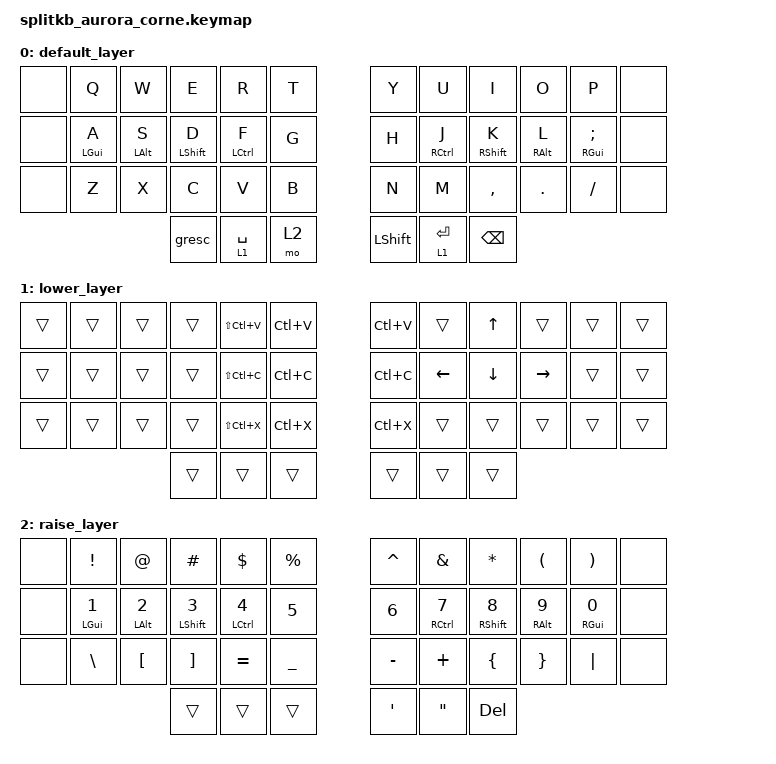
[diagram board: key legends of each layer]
/*
 * Copyright (c) 2020 The ZMK Contributors
 *
 * SPDX-License-Identifier: MIT
 */

#include <behaviors.dtsi>
#include <dt-bindings/zmk/behaviors.h>
#include <dt-bindings/zmk/keys.h>
#include <dt-bindings/zmk/bt.h>

/ {
        behaviors {
                hml: home_row_mod_left {
                    compatible = "zmk,behavior-hold-tap";
                    #binding-cells = <2>;
                    flavor = "balanced";
                    require-prior-idle-ms = <150>;
                    tapping-term-ms = <280>;
                    quick-tap-ms = <175>;
                    bindings = <&kp>, <&kp>;
                    hold-trigger-key-positions = <6 7 8 9 10 18 19 20 21 22 30 31 32 33 34>; // List of keys on the right side of the keyboard
                    hold-trigger-on-release;
                };
                hmr: home_row_mod_right {
                    compatible = "zmk,behavior-hold-tap";
                    #binding-cells = <2>;
                    flavor = "balanced";
                    require-prior-idle-ms = <150>;
                    tapping-term-ms = <280>;
                    quick-tap-ms = <175>;
                    bindings = <&kp>, <&kp>;
                    hold-trigger-key-positions = <1 2 3 4 5 13 14 15 16 17 25 26 27 28 29>; // List of keys on the left side of the keyboard
                    hold-trigger-on-release;
                };
                lt: layer_tap {
                    compatible = "zmk,behavior-hold-tap";
                    #binding-cells = <2>;
                    flavor = "tap-preferred";
                    tapping-term-ms = <200>;
                    bindings = <&mo>, <&kp>;
                    display-name = "Layer-Tap";
                };
        };

        combos {
                compatible = "zmk,combos";
                combo_tab {
                        timeout-ms = <50>;
                        key-positions = <1 2>;
                        bindings = <&kp TAB>;
                };
                combo_tilde {
                        timeout-ms = <50>;
                        key-positions = <33 34>;
                        bindings = <&kp TILDE>;
                };
                combo_apostrophe {
                        timeout-ms = <50>;
                        key-positions = <21 22>;
                        bindings = <&kp SQT>;
                };
        };

        keymap {
                compatible = "zmk,keymap";
// -------------------------------- DEFAULT LAYER --------------------------------------------
                default_layer {
// |-----|  Q-TAB-W  |  E  |  R  |  T  |   |  Y  |  U  |  I  |  O  |  P  |-----|
// |-----| G(A)| A(S)| S(D)| C(F)|  G  |   |  H  | C(J)| S(K)| A(L)| G(;)|-----|
// |-----|  Z  |  X  |  C  |  V  |  B  |   |  N  |  M  |  ,  |  .  ~  /  |-----|
//                   |GRESC|L SPC| RSE |   |SHIFT|L RET| BSPC|
                        bindings = <
   &none &kp Q       &kp W       &kp E         &kp R        &kp T     &kp Y      &kp U        &kp I         &kp O       &kp P          &none // Last key in row: 11
   &none &hml LGUI A &hml LALT S &hml LSHIFT D &hml LCTRL F &kp G     &kp H      &hmr RCTRL J &hmr RSHIFT K &hmr RALT L &hmr RGUI SEMI &none // Last key in row: 23
   &none &kp Z       &kp X       &kp C         &kp V        &kp B     &kp N      &kp M        &kp COMMA     &kp DOT     &kp FSLH       &none
                                 &gresc        &lt 1 SPACE  &mo 2     &kp LSHIFT &lt 1 RET    &kp BSPC
                        >;
                };
// ---------------------------------- LOWER LAYER --------------------------------------------
                lower_layer {
// |      |     |     |     |SPST | PST |   | PST |     |  UP |     |     |      |
// |      |     |     |     |SCPY | CPY |   | CPY | LFT | DWN | RGT |SCSHT|      |
// |      |     |     |     |SCUT | CUT |   | CUT |     |     |     |     |      |
//                    |     |     |     |   |     |     |     |
                        bindings = <
   &trans &trans &trans &trans &kp LS(LC(V)) &kp LC(V)   &kp LC(V) &trans   &kp UP   &trans    &trans &trans
   &trans &trans &trans &trans &kp LS(LC(C)) &kp LC(C)   &kp LC(C) &kp LEFT &kp DOWN &kp RIGHT &trans &trans
   &trans &trans &trans &trans &kp LS(LC(X)) &kp LC(X)   &kp LC(X) &trans   &trans   &trans    &trans &trans
                        &trans &trans       &trans      &trans    &trans   &trans
                        >;
                };
// ---------------------------------- RAISE LAYER --------------------------------------------
                raise_layer {
// |-----|  !  |  @  |  #  |  $  |  %  |   |  ^  |  &  |  *  |  (  |  )  |-----|
// |-----| G(1)| A(2)| S(3)| C(4)|  5  |   | C(6)| S(7)| A(8)| G(9)|  0  |-----|
// |-----|  \  |  [  |  ]  |  =  |  _  |   |  -  |  +  |  {  |  }  | "|" |-----|
//                   |     |     |     |   |  '  |  "  | DEL |
                        bindings = <
   &none &kp EXCL      &kp AT       &kp HASH       &kp DLLR      &kp PRCNT     &kp CARET &kp AMPS      &kp ASTRK      &kp LPAR     &kp RPAR     &none
   &none &hml LGUI N1  &hml LALT N2 &hml LSHIFT N3 &hml LCTRL N4 &kp N5        &kp N6    &hmr RCTRL N7 &hmr RSHIFT N8 &hmr RALT N9 &hmr RGUI N0 &none
   &none &kp BACKSLASH &kp LBKT     &kp RBKT       &kp EQUAL     &kp UNDER     &kp MINUS &kp PLUS      &kp LBRC       &kp RBRC     &kp PIPE     &none
                                    &trans         &trans        &trans        &kp SQT   &kp DQT       &kp DEL
                        >;
                };
        };
};


/* OLD LAYOUT
/ {
        keymap {
                compatible = "zmk,keymap";
// -------------------------------- DEFAULT LAYER --------------------------------------------
                default_layer {
// |  TAB |  Q  |  W  |  E  |  R  |  T  |   |  Y  |  U   |  I  |  O  |  P  | GUI  |
// | CTRL |  A  |  S  |  D  |  F  |  G  |   |  H  |  J   |  K  |  L  |  ;  |  '   |
// | SHFT |  Z  |  X  |  C  |  V  |  B  |   |  N  |  M   |  ,  |  .  |  /  | ALT  |
//                    | ESC | SPC | RSE |   | LWR | ENT  | BSPC|
                        bindings = <
   &kp TAB   &kp Q &kp W &kp E &kp R &kp T   &kp Y &kp U  &kp I     &kp O   &kp P    &kp LGUI
   &kp LCTRL &kp A &kp S &kp D &kp F &kp G   &kp H &kp J  &kp K     &kp L   &kp SEMI &kp SQT
   &kp LSHFT &kp Z &kp X &kp C &kp V &kp B   &kp N &kp M  &kp COMMA &kp DOT &kp FSLH &kp LALT
                  &kp ESC &kp SPACE  &mo 2   &mo 1 &kp RET &kp BSPC
                        >;
                };
// ---------------------------------- LOWER LAYER --------------------------------------------
                lower_layer {
// |      |     |     |     |     |     |   |     |     |  UP |     |     |      |
// | BTCLR| BT1 | BT2 | BT3 | BT4 | BT5 |   |PSCRN| LFT | DWN | RGT |     |      |
// |      |ULCK |     |     |     |     |   |     |     |     |     |     |      |
//                    |     |     |     |   |     |     |     |
                        bindings = <
   &trans     &trans          &trans       &trans       &trans       &trans         &trans    &trans   &kp UP   &trans    &trans &trans
   &bt BT_CLR &bt BT_SEL 0    &bt BT_SEL 1 &bt BT_SEL 2 &bt BT_SEL 3 &bt BT_SEL 4   &kp PSCRN &kp LEFT &kp DOWN &kp RIGHT &trans &trans
   &trans     &studio_unlock  &trans       &trans       &trans       &trans         &trans    &trans   &trans &trans    &trans &trans
                                           &trans       &trans       &trans         &trans    &trans   &trans
                        >;
                };
// ---------------------------------- RAISE LAYER --------------------------------------------
                raise_layer {
// |  TAB |  !  |  @  |  #  |  $  |  %  |   |  ^  |  &  |  *  |  (  |  )  | GUI  |
// | CTRL |  1  |  2  |  3  |  4  |  5  |   |  6  |  7  |  8  |  9  |  0  |  `   |
// | SHFT |  \  |  [  |  ]  |  =  |  _  |   |  -  |  +  |  {  |  }  | "|" |  ~   |
//                    | ESC | SPC |     |   |     | ENT | DEL |
                        bindings = <
   &kp  TAB  &kp EXCL      &kp AT    &kp HASH &kp DLLR  &kp PRCNT   &kp CARET &kp AMPS  &kp ASTRK &kp LPAR &kp RPAR &kp LGUI
   &kp LCTRL &kp N1        &kp N2    &kp N3   &kp N4    &kp N5      &kp N6    &kp N7    &kp N8    &kp N9   &kp N0   &kp GRAVE
   &kp LSHFT &kp BACKSLASH &kp LBKT  &kp RBKT &kp EQUAL &kp UNDER   &kp MINUS &kp PLUS  &kp LBRC  &kp RBRC &kp PIPE &kp TILDE
                                &kp ESC &kp SPACE  &trans      &trans    &kp RET   &kp DEL
                        >;
                };
        };
};

*/
